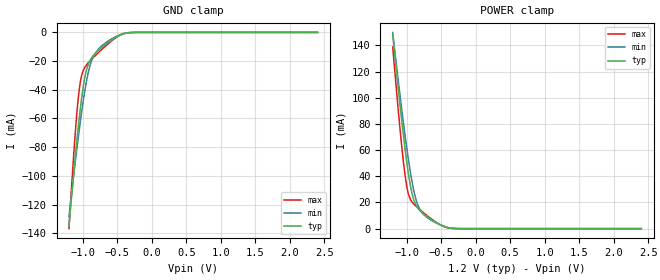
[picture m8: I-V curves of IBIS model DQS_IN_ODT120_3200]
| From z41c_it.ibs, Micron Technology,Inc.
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| MODEL DQS_IN_ODT120_3200 (Data Strobe Input with 120ohm ODT, 1600-3200Mbps)
[Model]   DQS_IN_ODT120_3200
Model_type   Input
Vinl = 905.000mV
Vinh = 1015.000mV
|   typ   min   max
|C_comp   0.666pF   0.616pF   0.720pF
C_comp_power_clamp   0.333pF   0.308pF   0.360pF
C_comp_gnd_clamp   0.333pF   0.308pF   0.360pF
| Note: C_comp changes when the ODT circuit is enabled.
|[Model Spec]
| Dynamic Overshoot Parameters from DDR4 Specification
|D_overshoot_ampl_h   0.40   NA   NA
|D_overshoot_ampl_l   0.40   NA   NA
|D_overshoot_area_h   0.0800n   NA   NA
|D_overshoot_area_l   0.0800n   NA   NA
[Voltage Range]   1.2000V   1.1400V   1.2600V
| Junction Temperature (Ambient temp is 35C typ, 95C min, -40C max)
[Temperature Range]   50.0   110.0   -40.0
[Add Submodel]
| Submodel Name   Mode
120ohm_ODT_3200   Non-Driving
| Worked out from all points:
|   GND clamp passes 1 mA (typ) near -0.41 V on its own axis
|   POWER clamp passes 1 mA (typ) near -0.41 V on its own axis
[GND Clamp]
|   Voltage   I(typ)   I(min)   I(max)
-1.2V     -135.1mA   -128.5mA   -136.8mA
-1.14V    -102.9mA   -103.2mA   -91.52mA
-1.092V   -78.73mA   -83.81mA   -59.99mA
-1.056V   -62.02mA   -69.95mA   -41.82mA
-1.017V   -46.05mA   -55.84mA   -30.22mA
-978mV    -33.41mA   -43.1mA    -25.07mA
-936mV    -24.46mA   -31.61mA   -22.06mA
-852mV    -16.43mA   -17.45mA   -17.76mA
-735mV    -10.89mA   -9.841mA   -12.36mA
-561mV    -4.664mA   -3.905mA   -5.156mA
-291mV    -92.21uA   -91.11uA   -51.6uA
2.4V      0A         0A         0A
[POWER Clamp]
|   Voltage   I(typ)   I(min)   I(max)
-1.2V     148.2mA    149.9mA    138.8mA
-1.131V   112.7mA    118.3mA    97.13mA
-1.074V   84.85mA    93.2mA     65.44mA
-1.029V   64.37mA    74.46mA    44.13mA
-990mV    48.49mA    59.28mA    30.64mA
-936mV    30.68mA    40.66mA    21.71mA
-864mV    18.03mA    22.5mA     17.2mA
-798mV    13.27mA    13.99mA    14.12mA
-714mV    9.674mA    9.039mA    10.45mA
-498mV    2.716mA    2.522mA    2.526mA
-351mV    356.7uA    399.4uA    181.7uA
2.4V      0A         0A         0A
